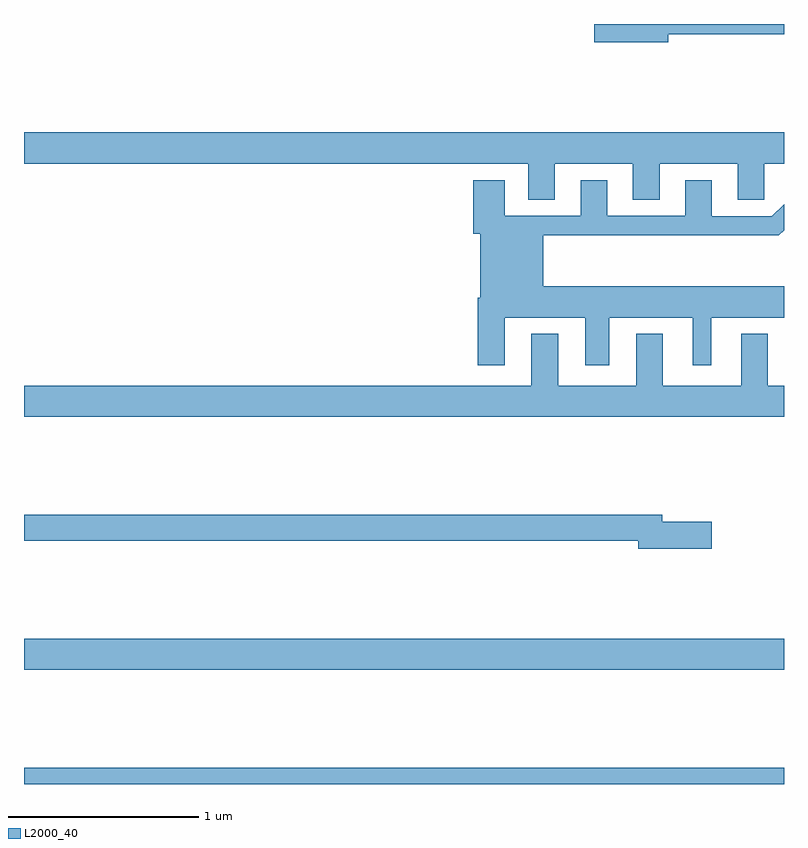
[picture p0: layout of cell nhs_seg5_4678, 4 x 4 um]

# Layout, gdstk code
import gdstk
lib = gdstk.Library(unit=1e-6, precision=1e-09)
def R(c, l, rs):  # rectangles x0, y0, x1, y1
    for r in rs: c.add(gdstk.rectangle(r[:2], r[2:], *l))
def P(c, l, *ps):  # polygons
    for p in ps: c.add(gdstk.Polygon(p, *l))
L2000_40 = (2000, 40)

nhs_seg5_4678 = lib.new_cell('nhs_seg5_4678')
R(nhs_seg5_4678, L2000_40, [(385,882.799,389,882.884), (385,883.4,389,883.564)])
P(nhs_seg5_4678, L2000_40, [(388.39,886.744),(389,886.744),(389,886.799),(388.002,886.799),(388.002,886.702),(388.39,886.702)],
  [(387.793,886.064),(388.205,886.064),(388.205,885.874),(388.345,885.874),(388.345,886.064),(388.757,886.064),(388.757,885.874),(388.896,885.874),(388.896,886.064),(389,886.064),(389,886.228),(385,886.228),(385,886.064),(387.653,886.064),(387.653,885.874),(387.793,885.874)],
  [(387.529,885.254),(387.953,885.254),(387.953,885.003),(388.081,885.003),(388.081,885.254),(388.52,885.254),(388.52,885.003),(388.618,885.003),(388.618,885.254),(389,885.254),(389,885.418),(387.733,885.418),(387.733,885.688),(388.717,885.688),(388.717,885.686),(388.973,885.686),(389,885.713),(389,885.851),(388.935,885.786),(388.621,885.786),(388.621,885.976),(388.481,885.976),(388.481,885.789),(388.069,885.789),(388.069,885.976),(387.929,885.976),(387.929,885.789),(387.529,885.789),(387.529,885.976),(387.365,885.976),(387.365,885.696),(387.401,885.696),(387.401,885.358),(387.389,885.358),(387.389,885.003),(387.529,885.003)],
  [(389,884.896),(388.915,884.896),(388.915,885.169),(388.775,885.169),(388.775,884.896),(388.363,884.896),(388.363,885.169),(388.223,885.169),(388.223,884.896),(387.811,884.896),(387.811,885.169),(387.671,885.169),(387.671,884.896),(385,884.896),(385,884.732),(389,884.732)],
  [(388.621,884.18),(388.36,884.18),(388.36,884.216),(385,884.216),(385,884.08),(388.232,884.08),(388.232,884.038),(388.621,884.038)])

lib.write_gds('nhs_seg5_4678.gds')
